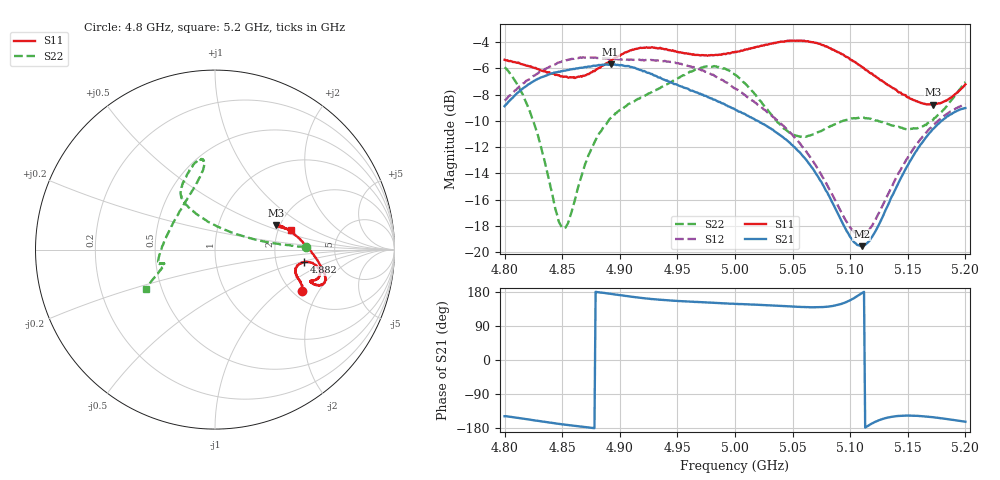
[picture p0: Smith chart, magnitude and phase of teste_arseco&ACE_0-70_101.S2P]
! Network Analyzer HP8722D
! Hewlett-Packard
! Data name: Linha & Wilkinson
! Saver's name: Rodrigo Anjos
! Comments: Teste da utilização de aquisição
! continua pelo VNA HP8722D
! Time and date: 8/5/2025 13:36
!  Frequency  S11  S21  S12  S22
# HZ  S  MA R 50
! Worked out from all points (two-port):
!   401 points, 4.8 GHz to 5.2 GHz, reference 50 ohm
!   highest |S21| = -5.70 dB at 4.892 GHz (marker M1); lowest = -19.5 dB at 5.11 GHz (marker M2)
!   |S21| within 3 dB of the highest: 4.802 GHz to 4.99 GHz (188.1 MHz wide, 3.84 % of centre)
!   lowest |S11| = -8.8 dB at 5.172 GHz (marker M3), VSWR 2.15, Z = 95.1 + j29.7 ohm
!   |S11| at or under -10 dB: nowhere
!   |S22| runs from -18.2 to -5.8 dB; largest |S21 - S12| = 1.1
!   S11 on the Smith chart (normalised r, x): 4.8 GHz: 2.23, -1.46; 4.882 GHz: 2.90, -0.54; 5.2 GHz: 2.33, +0.64
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4.8e9  0.5393 -25.5  0.3596 -148.3  0.3777 11.3  0.5053 1.7
4.814e9  0.5204 -22.2  0.4145 -153.9  0.4299 9.4  0.4107 3.4
4.824e9  0.5046 -20.3  0.444 -158.5  0.4643 7.6  0.3227 6.4
4.849e9  0.4666 -16.4  0.4884 -169.4  0.5293 3.8  0.1258 56.1
4.855e9  0.4615 -14.7  0.4934 -171.7  0.5396 2.9  0.1289 83.8
4.867e9  0.4654 -11.2  0.503 -175.9  0.5489 1.3  0.1965 113.1
4.882e9  0.5025 -8.0  0.5159 178.5  0.5485 0.1  0.2827 122.1
4.892e9  0.5355 -7.8  0.5188 174.6  0.5435 -0.1  0.3241 123.3
4.913e9  0.5925 -11.0  0.503 165.8  0.5398 0.2  0.376 120.4
4.934e9  0.5967 -15.3  0.4617 159.1  0.5361 -0.6  0.4198 114.4
4.975e9  0.5616 -18.5  0.393 151.8  0.4847 -4.5  0.5094 100.4
5e9  0.5785 -19.1  0.3495 148.0  0.4204 -4.8  0.474 97.3
5.02e9  0.6056 -19.2  0.3156 145.6  0.3631 -1.5  0.3863 105.0
5.044e9  0.6342 -17.3  0.2692 142.1  0.2966 3.5  0.2921 131.2
5.067e9  0.629 -13.3  0.2097 139.2  0.225 9.6  0.28 164.3
5.099e9  0.5468 -2.6  0.1166 156.3  0.1263 37.7  0.3206 -169.8
5.11e9  0.5074 2.4  0.1056 176.1  0.1161 59.6  0.3248 -166.8
5.119e9  0.478 7.1  0.1146 -167.4  0.1263 77.1  0.3195 -165.9
5.134e9  0.4298 14.4  0.1553 -151.0  0.1702 94.7  0.3063 -165.4
5.156e9  0.3783 21.0  0.238 -147.0  0.2518 102.4  0.2958 -163.8
5.172e9  0.3647 21.8  0.2943 -151.2  0.3045 103.3  0.319 -159.9
5.2e9  0.435 14.7  0.3537 -163.0  0.3663 103.5  0.4442 -150.1
